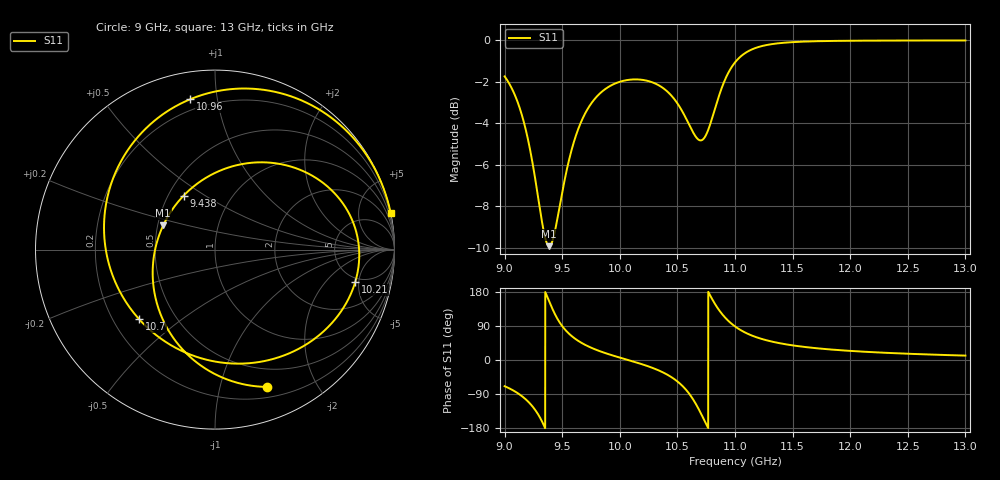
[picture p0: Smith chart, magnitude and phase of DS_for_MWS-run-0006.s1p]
! TOUCHSTONE file generated by CST DESIGN STUDIO
! Date and time: Tue Feb  4 14:40:42 2025
! Project name: C:\Work\MatlabApps\UnitCellOptimizationMatlab\CST\unitcell.cst
! Tree item: Tasks\Sweep1\SPara1\S-Parameters
! Header version: 2024
! Port assignment regex: !\s*Touchstone port\s*([0-9]+)\s*=\s*(CST MWS port|CST DES external port|CST DES block port)\s*(.+)\s* \(\"(.*)\"\)(\s*mode\s*([0-9]+))?.*
! Touchstone port assignment:
! Touchstone port 1 = CST DES external port 1 ("")
# GHz S MA R 50
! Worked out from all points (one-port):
!   4001 points, 9 GHz to 13 GHz, reference 50 ohm
!   lowest |S11| = -9.9 dB at 9.387 GHz (marker M1), VSWR 1.94, Z = 26.8 + j8.04 ohm
!   |S11| at or under -10 dB: nowhere
!   S11 on the Smith chart (normalised r, x): 9 GHz: 0.30, -1.41; 9.438 GHz: 0.60, +0.41; 10.21 GHz: 4.45, -4.49; 10.7 GHz: 0.31, -0.36; 10.96 GHz: 0.14, +0.84; 13 GHz: 0.01, +9.83
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9  0.8188 -69.1
9.101  0.7244 -85.0
9.186  0.6049 -104.6
9.294  0.4125 -145.0
9.387  0.3186 154.9
9.438  0.3475 120.3
9.5  0.4293 89.4
9.598  0.5646 59.3
9.73  0.6897 35.4
9.855  0.7562 20.2
10  0.7946 6.3
10.211  0.8019 -13.0
10.373  0.7683 -32.5
10.5  0.7048 -56.5
10.611  0.6188 -92.5
10.655  0.5879 -113.3
10.698  0.5737 -137.3
10.756  0.5973 -172.9
10.809  0.6596 156.7
10.883  0.7654 123.0
10.956  0.8489 99.4
11  0.8849 88.6
11.098  0.9359 71.0
11.206  0.9645 58.0
11.5  0.9906 38.6
12  0.9982 24.0
12.5  0.9995 16.5
13  0.9999 11.6
